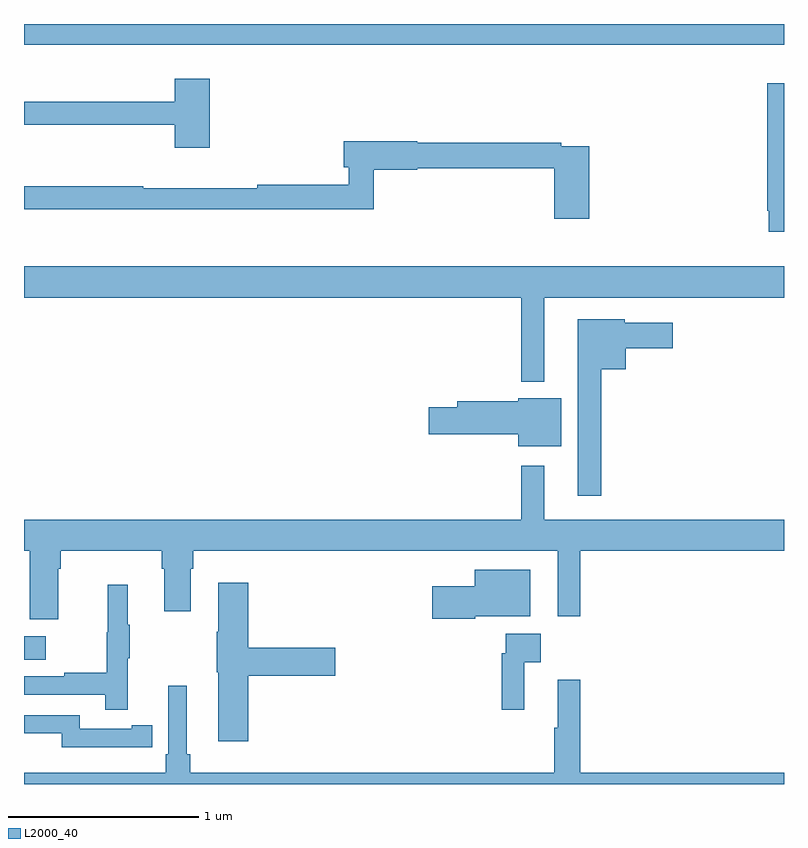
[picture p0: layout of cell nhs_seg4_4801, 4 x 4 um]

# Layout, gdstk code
import gdstk
lib = gdstk.Library(unit=1e-6, precision=1e-09)
def R(c, l, rs):  # rectangles x0, y0, x1, y1
    for r in rs: c.add(gdstk.rectangle(r[:2], r[2:], *l))
def P(c, l, *ps):  # polygons
    for p in ps: c.add(gdstk.Polygon(p, *l))
L2000_40 = (2000, 40)

nhs_seg4_4801 = lib.new_cell('nhs_seg4_4801')
R(nhs_seg4_4801, L2000_40, [(369,821.555,369.115,821.677), (369,824.792,373,824.9)])
P(nhs_seg4_4801, L2000_40, [(369.977,824.611),(369.794,824.611),(369.794,824.491),(369,824.491),(369,824.37),(369.794,824.37),(369.794,824.25),(369.977,824.25)],
  [(373,824.587),(372.913,824.587),(372.913,823.918),(372.921,823.918),(372.921,823.806),(373,823.806)],
  [(371.975,824.256),(371.828,824.256),(371.828,824.276),(371.07,824.276),(371.07,824.282),(370.682,824.282),(370.682,824.147),(370.709,824.147),(370.709,824.054),(370.228,824.054),(370.228,824.036),(369.628,824.036),(369.628,824.047),(369,824.047),(369,823.926),(370.841,823.926),(370.841,824.132),(371.07,824.132),(371.07,824.14),(371.792,824.14),(371.792,823.875),(371.975,823.875)],
  [(371.737,823.46),(373,823.46),(373,823.624),(369,823.624),(369,823.46),(371.616,823.46),(371.616,823.016),(371.737,823.016)],
  [(372.037,823.082),(372.166,823.082),(372.166,823.193),(372.415,823.193),(372.415,823.327),(372.162,823.327),(372.162,823.345),(371.915,823.345),(371.915,822.417),(372.037,822.417)],
  [(371.827,822.931),(371.6,822.931),(371.6,822.914),(371.279,822.914),(371.279,822.884),(371.13,822.884),(371.13,822.742),(371.6,822.742),(371.6,822.677),(371.827,822.677)],
  [(369.181,822.032),(369.194,822.032),(369.194,822.128),(369.725,822.128),(369.725,822.032),(369.737,822.032),(369.737,821.808),(369.877,821.808),(369.877,822.032),(369.89,822.032),(369.89,822.128),(371.81,822.128),(371.81,821.784),(371.927,821.784),(371.927,822.128),(373,822.128),(373,822.292),(371.737,822.292),(371.737,822.574),(371.616,822.574),(371.616,822.292),(369,822.292),(369,822.128),(369.029,822.128),(369.029,821.766),(369.181,821.766)],
  [(371.376,821.783),(371.665,821.783),(371.665,822.028),(371.372,822.028),(371.372,821.941),(371.148,821.941),(371.148,821.771),(371.376,821.771)],
  [(370.181,821.471),(370.639,821.471),(370.639,821.618),(370.181,821.618),(370.181,821.959),(370.022,821.959),(370.022,821.701),(370.015,821.701),(370.015,821.487),(370.022,821.487),(370.022,821.124),(370.181,821.124)],
  [(369.545,821.563),(369.556,821.563),(369.556,821.737),(369.545,821.737),(369.545,821.95),(369.442,821.95),(369.442,821.7),(369.435,821.7),(369.435,821.486),(369.211,821.486),(369.211,821.466),(369,821.466),(369,821.37),(369.427,821.37),(369.427,821.292),(369.545,821.292)],
  [(371.633,821.54),(371.719,821.54),(371.719,821.692),(371.535,821.692),(371.535,821.588),(371.515,821.588),(371.515,821.292),(371.633,821.292)],
  [(373,820.96),(371.927,820.96),(371.927,821.449),(371.81,821.449),(371.81,821.196),(371.791,821.196),(371.791,820.96),(369.875,820.96),(369.875,821.056),(369.856,821.056),(369.856,821.416),(369.759,821.416),(369.759,821.056),(369.746,821.056),(369.746,820.96),(369,820.96),(369,820.9),(373,820.9)],
  [(369.566,821.094),(369.674,821.094),(369.674,821.21),(369.566,821.21),(369.566,821.19),(369.294,821.19),(369.294,821.262),(369,821.262),(369,821.166),(369.198,821.166),(369.198,821.093),(369.566,821.093)])

lib.write_gds('nhs_seg4_4801.gds')
